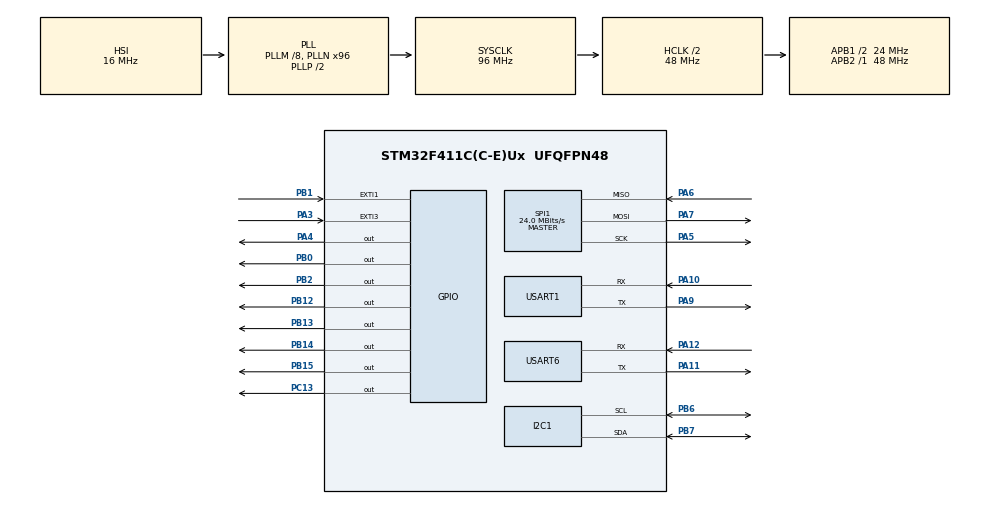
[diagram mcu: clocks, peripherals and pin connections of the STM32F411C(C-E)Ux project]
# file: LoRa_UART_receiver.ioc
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Dma.Request0=USART6_TX
Dma.USART6_TX.0.Direction=DMA_MEMORY_TO_PERIPH
Dma.USART6_TX.0.FIFOMode=DMA_FIFOMODE_DISABLE
Dma.USART6_TX.0.Instance=DMA2_Stream6
Dma.USART6_TX.0.MemDataAlignment=DMA_MDATAALIGN_BYTE
Dma.USART6_TX.0.MemInc=DMA_MINC_ENABLE
Dma.USART6_TX.0.Mode=DMA_NORMAL
Dma.USART6_TX.0.PeriphDataAlignment=DMA_PDATAALIGN_BYTE
Dma.USART6_TX.0.PeriphInc=DMA_PINC_DISABLE
Dma.USART6_TX.0.Priority=DMA_PRIORITY_LOW
IWDG.Prescaler=IWDG_PRESCALER_256
IWDG.Reload=4095
Mcu.Family=STM32F4
Mcu.Name=STM32F411C(C-E)Ux
Mcu.Package=UFQFPN48
NVIC.DMA2_Stream6_IRQn=true\:0\:0\:false\:false\:true\:false\:true\:true
NVIC.EXTI1_IRQn=true\:0\:0\:false\:false\:true\:true\:true\:true
NVIC.EXTI3_IRQn=true\:1\:0\:true\:false\:true\:true\:true\:true
NVIC.PriorityGroup=NVIC_PRIORITYGROUP_4
NVIC.USART6_IRQn=true\:0\:0\:false\:false\:true\:true\:true\:true
PA10.Mode=Asynchronous
PA10.Signal=USART1_RX
PA11.Mode=Asynchronous
PA11.Signal=USART6_TX
PA12.Mode=Asynchronous
PA12.Signal=USART6_RX
PA13.Mode=Serial_Wire
PA13.Signal=SYS_JTMS-SWDIO
PA14.Mode=Serial_Wire
PA14.Signal=SYS_JTCK-SWCLK
PA3.GPIO_PuPd=GPIO_PULLDOWN
PA3.Signal=GPXTI3
PA4.PinState=GPIO_PIN_SET
PA4.Signal=GPIO_Output
PA5.Mode=Full_Duplex_Master
PA5.Signal=SPI1_SCK
PA6.Mode=Full_Duplex_Master
PA6.Signal=SPI1_MISO
PA7.Mode=Full_Duplex_Master
PA7.Signal=SPI1_MOSI
PA9.Mode=Asynchronous
PA9.Signal=USART1_TX
PB0.Signal=GPIO_Output
PB1.GPIO_ModeDefaultEXTI=GPIO_MODE_IT_RISING
PB1.GPIO_PuPd=GPIO_NOPULL
PB1.Signal=GPXTI1
PB12.Signal=GPIO_Output
PB13.Signal=GPIO_Output
PB14.PinState=GPIO_PIN_SET
PB14.Signal=GPIO_Output
PB15.Signal=GPIO_Output
PB2.PinState=GPIO_PIN_SET
PB2.Signal=GPIO_Output
PB6.Mode=I2C
PB6.Signal=I2C1_SCL
PB7.Mode=I2C
PB7.Signal=I2C1_SDA
PC13-ANTI_TAMP.GPIO_PuPd=GPIO_NOPULL
PC13-ANTI_TAMP.Signal=GPIO_Output
PC14-OSC32_IN.Mode=LSE-External-Oscillator
PC14-OSC32_IN.Signal=RCC_OSC32_IN
PC15-OSC32_OUT.Mode=LSE-External-Oscillator
PC15-OSC32_OUT.Signal=RCC_OSC32_OUT
ProjectManager.HeapSize=0x200
ProjectManager.StackSize=0x400
ProjectManager.TargetToolchain=STM32CubeIDE
RCC.48MHZClocksFreq_Value=48000000
RCC.AHBCLKDivider=RCC_SYSCLK_DIV2
RCC.AHBFreq_Value=48000000
RCC.APB1CLKDivider=RCC_HCLK_DIV2
RCC.APB1Freq_Value=24000000
RCC.APB1TimFreq_Value=48000000
RCC.APB2Freq_Value=48000000
RCC.APB2TimFreq_Value=48000000
RCC.CortexFreq_Value=48000000
RCC.HCLKFreq_Value=48000000
RCC.HSE_VALUE=25000000
RCC.HSI_VALUE=16000000
RCC.PLLM=8
RCC.PLLN=96
RCC.RCC_RTC_Clock_Source=RCC_RTCCLKSOURCE_LSE
RCC.RCC_RTC_Clock_SourceVirtual=RCC_RTCCLKSOURCE_LSE
RCC.SYSCLKFreq_VALUE=96000000
RCC.SYSCLKSource=RCC_SYSCLKSOURCE_PLLCLK
RCC.VCOOutputFreq_Value=192000000
SPI1.CalculateBaudRate=24.0 MBits/s
SPI1.Direction=SPI_DIRECTION_2LINES
SPI1.Mode=SPI_MODE_MASTER
SPI1.VirtualType=VM_MASTER
USART1.VirtualMode=VM_ASYNC
USART6.VirtualMode=VM_ASYNC
VP_FATFS_VS_Generic.Mode=User_defined
VP_IWDG_VS_IWDG.Mode=IWDG_Activate
VP_RTC_VS_RTC_Activate.Mode=RTC_Enabled
board=custom

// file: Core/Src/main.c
/* USER CODE BEGIN Header */
/**
  ******************************************************************************
  * @file           : main.c
  * @brief          : Main program body
  ******************************************************************************
  * @attention
  *
  * Copyright (c) 2026 STMicroelectronics.
  * All rights reserved.
  *
  * This software is licensed under terms that can be found in the LICENSE file
  * in the root directory of this software component.
  * If no LICENSE file comes with this software, it is provided AS-IS.
  *
  ******************************************************************************
  */
/* USER CODE END Header */
#include "main.h"
#include "fatfs.h"

/* USER CODE BEGIN Includes */
#include <stdio.h>
#include <string.h>
#include "SX1278.h"
#include "BME280_I2C.h"
#include "esp01s_driver.h"
#include "debug.h"
#include "st7735.h"
#include "fonts.h"
#include "image.h"

#include "sd_logger.h"
#include "structs.h"

/* USER CODE END Includes */

/* USER CODE BEGIN PD */
#define LOG_INTERVAL 10000
#define CYCLE_PERIOD_MS 60000    // Базовий хвилинний інтервал опитування
#define SLOT_OFFSET_MS  2000     // Зсув слоту (по 2 секунди для кожного вузла)

#define DIO0_GPIO_Port GPIOB
#define DIO0_Pin GPIO_PIN_1

#define NSS_GPIO_Port GPIOA
#define NSS_Pin GPIO_PIN_4

#define RESET_GPIO_Port GPIOB
#define RESET_Pin GPIO_PIN_0

#define MAX_NODES 4
/* USER CODE END PD */

/* USER CODE BEGIN PM */
#define DBG_UART &huart1
/* USER CODE END PM */

I2C_HandleTypeDef hi2c1;

IWDG_HandleTypeDef hiwdg;

RTC_HandleTypeDef hrtc;

SPI_HandleTypeDef hspi1;

UART_HandleTypeDef huart1;
UART_HandleTypeDef huart6;
DMA_HandleTypeDef hdma_usart6_tx;

/* USER CODE BEGIN PV */

uint32_t last_button_press = 0;

NodeData node_cache[MAX_NODES];
uint8_t node_valid[MAX_NODES] = {0};
uint8_t node_unsaved[MAX_NODES] = {0};
volatile uint8_t selected_node = 0;
volatile uint8_t node_switch_flag = 0;
int32_t node_clock_offset[MAX_NODES] = {0};

volatile uint32_t lora_rx_timestamp = 0;
uint32_t last_log_time = 0;
/* USER CODE END PV */

void SystemClock_Config(void);
static void MX_GPIO_Init(void);
static void MX_DMA_Init(void);
static void MX_SPI1_Init(void);
static void MX_USART1_UART_Init(void);
static void MX_I2C1_Init(void);
static void MX_USART6_UART_Init(void);
static void MX_IWDG_Init(void);
static void MX_RTC_Init(void);
/* USER CODE BEGIN PFP */
void Led_Blink_Count(uint8_t n, uint8_t delay);
uint8_t crc8(uint8_t *data, uint8_t len);
NodeData read_lora_packet(uint8_t *buf);
void draw_intro(){
	ST7735_FillScreen(ST7735_BLACK);
	ST7735_DrawString(28,90,"Vadym Minder", Font_5x7, ST7735_WHITE, ST7735_BLACK);
	ST7735_DrawString(49,98,"KV-22", Font_5x7, ST7735_WHITE, ST7735_BLACK);
	ST7735_DrawImage(40, 8, 48, 67, icon);
}

void draw_interface(){
	ST7735_DrawRect(0, 16, 128, 112, ST7735_WHITE);
	ST7735_DrawFastHLine(0, 80, 128, ST7735_WHITE);
	//ST7735_DrawFastHLine(0, 104, 128, ST7735_WHITE);
	ST7735_DrawFastVLine(64, 80, 48, ST7735_WHITE);
	ST7735_DrawString(98, 46, "^C", Font_11x18, ST7735_WHITE, ST7735_BLACK);
	ST7735_DrawString(9, 110, "HUMIDITY", Font_5x7, ST7735_WHITE, ST7735_BLACK);
	ST7735_DrawString(88, 110, "hPa", Font_5x7, ST7735_WHITE, ST7735_BLACK);
}

void draw_measurements(const NodeData *d);
/* USER CODE END PFP */

/* USER CODE BEGIN 0 */
float Temperature, Pressure, Humidity;

SX1278_hw_t SX1278_hw;
SX1278_t SX1278;

volatile uint8_t lora_rx_flag = 0;
char buffer[64];
char buffer_BME[64];

/* USER CODE END 0 */

int main(void)
{

  /* MCU Configuration--------------------------------------------------------*/

  /* Reset of all peripherals, Initializes the Flash interface and the Systick. */
  HAL_Init();

  /* Configure the system clock */
  SystemClock_Config();

  /* Initialize all configured peripherals */
  MX_GPIO_Init();
  MX_DMA_Init();
  MX_SPI1_Init();
  MX_USART1_UART_Init();
  MX_I2C1_Init();
  MX_USART6_UART_Init();
  MX_IWDG_Init();
  MX_FATFS_Init();
  MX_RTC_Init();
  /* USER CODE BEGIN 2 */

  HAL_Delay(500);
  debug_log("STM32_CORE","MODULES INIT START");

  char dbg[32];
  snprintf(dbg, sizeof(dbg), "USERPath: '%s' ret:%d\r\n", USERPath, retUSER);
  HAL_UART_Transmit(&huart1, (uint8_t*)dbg, strlen(dbg), 100);
  if (SD_Logger_Init() != SD_LOG_OK) {
          debug_log("STM32_CORE", "SD INIT FAIL");
      }
  ST7735_Init();
  ST7735_Backlight_On();
  ST7735_SetRotation(1);
  draw_intro();

  SX1278_hw.dio0.port  = DIO0_GPIO_Port;
  SX1278_hw.dio0.pin   = DIO0_Pin;

  SX1278_hw.nss.port   = NSS_GPIO_Port;
  SX1278_hw.nss.pin    = NSS_Pin;

  SX1278_hw.reset.port = RESET_GPIO_Port;
  SX1278_hw.reset.pin  = RESET_Pin;

  SX1278_hw.spi        = &hspi1;

  SX1278.hw = &SX1278_hw;

  SX1278_init(&SX1278, 434000000, SX1278_POWER_17DBM, SX1278_LORA_SF_7, SX1278_LORA_BW_125KHZ, SX1278_LORA_CR_4_5, SX1278_LORA_CRC_EN, 10);

  SX1278_LoRaEntryRx(&SX1278, 16, 3000);

  BME280_Config(OSRS_2, OSRS_16, OSRS_1, MODE_NORMAL, T_SB_0p5, IIR_16);

  uint8_t lora_packet[9];
  NodeData hub = {0, Temperature, Humidity, Pressure};
  node_cache[0] = hub;
  node_valid[0] = 1;
  debug_log("STM32_CORE","MODULES INIT END");

  /* USER CODE END 2 */

  /* Infinite loop */
  /* USER CODE BEGIN WHILE */

  uint8_t intro_complete = 0; //[cite: 1]
    while (1)
    {
      HAL_IWDG_Refresh(&hiwdg); //[cite: 1]
      ESP_Process();

      // 1. Блок збору та логування даних
      if ((HAL_GetTick() - last_log_time >= LOG_INTERVAL) || !intro_complete) {
          last_log_time = HAL_GetTick();

          RTC_TimeTypeDef sTime = {0};
          RTC_DateTypeDef sDate = {0};
          HAL_RTC_GetTime(&hrtc, &sTime, RTC_FORMAT_BIN);
          HAL_RTC_GetDate(&hrtc, &sDate, RTC_FORMAT_BIN);

          //debug_log("STM32_CORE","BME280 Measure START");
          BME280_Measure();
          NodeData hub = {0, Temperature, Humidity, Pressure/100.0f};

          node_cache[0] = hub;
          node_valid[0] = 1;     // Для екрану (ніколи не скидаємо)
          node_unsaved[0] = 1;   // Для SD/ESP (скинемо після запису)

          debug_log("STM32_CORE","BME280 Measure END");
          if (!intro_complete) {
			ST7735_FillScreen(ST7735_BLACK);
			draw_interface();
			draw_measurements(&node_cache[selected_node]);
			intro_complete = 1;
		}else if (selected_node == 0) {
            draw_measurements(&node_cache[0]);
        }
      }

      for (uint8_t i = 0; i < MAX_NODES; i++) {
			if (node_unsaved[i]) {
				if (ESP_SendMessage_Node_DMA(&node_cache[i])) {
					SD_Logger_Write(&node_cache[i]);
					SD_Logger_Flush();
					node_unsaved[i] = 0;
				}
				break;
			}
		}

      // 2. Блок обробки вхідних радіопакетів
      if (lora_rx_flag) {
    	  debug_log("STM32 CORE", "LoRa RX START");
          lora_rx_flag = 0;

          uint8_t len = SX1278_available(&SX1278);
          if (len > 0) {
              SX1278_read(&SX1278, (uint8_t*)lora_packet, len);
              NodeData node = read_lora_packet(lora_packet);

              if (node.id > 0 && node.id < MAX_NODES) {
                  node_cache[node.id] = node;
                  node_valid[node.id] = 1;
                  node_unsaved[node.id] = 1;

                  if (selected_node == node.id) {
                      draw_measurements(&node_cache[node.id]);
                  }

                  // --- РОЗРАХУНОК СЛОТУ ---
                  // Фіксуємо час ЗАРАЗ — до будь-яких затримок передачі
                  uint32_t now = lora_rx_timestamp;
                  uint32_t cycle_time = now % CYCLE_PERIOD_MS;
                  uint32_t target_offset = (uint32_t)node.id * SLOT_OFFSET_MS;

                  // Скільки мс до наступного входження вузла у свій слот
                  int32_t time_to_slot = (int32_t)target_offset - (int32_t)cycle_time;
                  if (time_to_slot <= 500) {
                      // Слот вже минув або дуже близько — беремо наступний цикл
                      time_to_slot += (int32_t)CYCLE_PERIOD_MS;
                  }
                  uint32_t sleep_ms = (uint32_t)time_to_slot;

                  // Drift для діагностики (позитивний = вузол прийшов пізніше слоту)
                  int32_t drift_ms = (int32_t)cycle_time - (int32_t)target_offset;
                  if (drift_ms >  (int32_t)(CYCLE_PERIOD_MS / 2)) drift_ms -= CYCLE_PERIOD_MS;
                  if (drift_ms < -(int32_t)(CYCLE_PERIOD_MS / 2)) drift_ms += CYCLE_PERIOD_MS;

                  if (drift_ms > -2000 && drift_ms < 2000) {
					node_clock_offset[node.id] += drift_ms / 2;

					if (node_clock_offset[node.id] > 5000)  node_clock_offset[node.id] = 5000;
					if (node_clock_offset[node.id] < -5000) node_clock_offset[node.id] = -5000;
				} else {
					node_clock_offset[node.id] = 0;
				}

				// Пряме коригування з перевіркою на underflow (щоб не піти в мінус)
				if ((int32_t)sleep_ms - node_clock_offset[node.id] < 100) {
					sleep_ms = 100;
				} else {
					sleep_ms -= node_clock_offset[node.id];
				}

                  char drift_log[48];
                  snprintf(drift_log, sizeof(drift_log),
                           "Node %d drift: %ld ms  sleep: %lu ms", node.id, drift_ms, sleep_ms);
                  debug_log("STM32_CORE", drift_log);

                  // --- ACK ---
                  uint8_t ack_packet[6];
                  ack_packet[0] = node.id;
                  ack_packet[1] = (sleep_ms >> 24) & 0xFF;
                  ack_packet[2] = (sleep_ms >> 16) & 0xFF;
                  ack_packet[3] = (sleep_ms >>  8) & 0xFF;
                  ack_packet[4] =  sleep_ms        & 0xFF;
                  ack_packet[5] = crc8(ack_packet, 5);

                  SX1278_standby(&SX1278);
                  HAL_Delay(20);
                  SX1278_LoRaEntryTx(&SX1278, 16, 3000);
                  SX1278_transmit(&SX1278, ack_packet, 6, 1000);
                  debug_log("STM32_CORE", "ACK Sent to Node");
              }
          }

          lora_rx_flag = 0;

          SX1278_LoRaEntryRx(&SX1278, 16, 3000);
          debug_log("STM32 CORE", "LoRa RX END");
      }

      // 3. Інтерфейс

      // Перемикання кнопкою (працюватиме, бо node_valid не скидається)
	if (intro_complete && node_switch_flag) {
		node_switch_flag = 0;
		if (node_valid[selected_node]) {
			draw_measurements(&node_cache[selected_node]);
		}
	}

    /* USER CODE END WHILE */

  }
}

void SystemClock_Config(void)
{
  RCC_OscInitTypeDef RCC_OscInitStruct = {0};
  RCC_ClkInitTypeDef RCC_ClkInitStruct = {0};

  /** Configure the main internal regulator output voltage
  */
  __HAL_RCC_PWR_CLK_ENABLE();
  __HAL_PWR_VOLTAGESCALING_CONFIG(PWR_REGULATOR_VOLTAGE_SCALE1);

  /** Initializes the RCC Oscillators according to the specified parameters
  * in the RCC_OscInitTypeDef structure.
  */
  RCC_OscInitStruct.OscillatorType = RCC_OSCILLATORTYPE_HSI|RCC_OSCILLATORTYPE_LSI
                              |RCC_OSCILLATORTYPE_LSE;
  RCC_OscInitStruct.LSEState = RCC_LSE_ON;
  RCC_OscInitStruct.HSIState = RCC_HSI_ON;
  RCC_OscInitStruct.HSICalibrationValue = RCC_HSICALIBRATION_DEFAULT;
  RCC_OscInitStruct.LSIState = RCC_LSI_ON;
  RCC_OscInitStruct.PLL.PLLState = RCC_PLL_ON;
  RCC_OscInitStruct.PLL.PLLSource = RCC_PLLSOURCE_HSI;
  RCC_OscInitStruct.PLL.PLLM = 8;
  RCC_OscInitStruct.PLL.PLLN = 96;
  RCC_OscInitStruct.PLL.PLLP = RCC_PLLP_DIV2;
  RCC_OscInitStruct.PLL.PLLQ = 4;
  if (HAL_RCC_OscConfig(&RCC_OscInitStruct) != HAL_OK)
  {
    Error_Handler();
  }

  /** Initializes the CPU, AHB and APB buses clocks
  */
  RCC_ClkInitStruct.ClockType = RCC_CLOCKTYPE_HCLK|RCC_CLOCKTYPE_SYSCLK
                              |RCC_CLOCKTYPE_PCLK1|RCC_CLOCKTYPE_PCLK2;
  RCC_ClkInitStruct.SYSCLKSource = RCC_SYSCLKSOURCE_PLLCLK;
  RCC_ClkInitStruct.AHBCLKDivider = RCC_SYSCLK_DIV2;
  RCC_ClkInitStruct.APB1CLKDivider = RCC_HCLK_DIV2;
  RCC_ClkInitStruct.APB2CLKDivider = RCC_HCLK_DIV1;

  if (HAL_RCC_ClockConfig(&RCC_ClkInitStruct, FLASH_LATENCY_1) != HAL_OK)
  {
    Error_Handler();
  }
}

static void MX_I2C1_Init(void)
{

  hi2c1.Instance = I2C1;
  hi2c1.Init.ClockSpeed = 100000;
  hi2c1.Init.DutyCycle = I2C_DUTYCYCLE_2;
  hi2c1.Init.OwnAddress1 = 0;
  hi2c1.Init.AddressingMode = I2C_ADDRESSINGMODE_7BIT;
  hi2c1.Init.DualAddressMode = I2C_DUALADDRESS_DISABLE;
  hi2c1.Init.OwnAddress2 = 0;
  hi2c1.Init.GeneralCallMode = I2C_GENERALCALL_DISABLE;
  hi2c1.Init.NoStretchMode = I2C_NOSTRETCH_DISABLE;
  if (HAL_I2C_Init(&hi2c1) != HAL_OK)
  {
    Error_Handler();
  }

}

static void MX_IWDG_Init(void)
{

  hiwdg.Instance = IWDG;
  hiwdg.Init.Prescaler = IWDG_PRESCALER_256;
  hiwdg.Init.Reload = 4095;
  if (HAL_IWDG_Init(&hiwdg) != HAL_OK)
  {
    Error_Handler();
  }

}

static void MX_RTC_Init(void)
{

  /** Initialize RTC Only
  */
  hrtc.Instance = RTC;
  hrtc.Init.HourFormat = RTC_HOURFORMAT_24;
  hrtc.Init.AsynchPrediv = 127;
  hrtc.Init.SynchPrediv = 255;
  hrtc.Init.OutPut = RTC_OUTPUT_DISABLE;
  hrtc.Init.OutPutPolarity = RTC_OUTPUT_POLARITY_HIGH;
  hrtc.Init.OutPutType = RTC_OUTPUT_TYPE_OPENDRAIN;
  if (HAL_RTC_Init(&hrtc) != HAL_OK)
  {
    Error_Handler();
  }

}

static void MX_SPI1_Init(void)
{

  /* SPI1 parameter configuration*/
  hspi1.Instance = SPI1;
  hspi1.Init.Mode = SPI_MODE_MASTER;
  hspi1.Init.Direction = SPI_DIRECTION_2LINES;
  hspi1.Init.DataSize = SPI_DATASIZE_8BIT;
  hspi1.Init.CLKPolarity = SPI_POLARITY_LOW;
  hspi1.Init.CLKPhase = SPI_PHASE_1EDGE;
  hspi1.Init.NSS = SPI_NSS_SOFT;
  hspi1.Init.BaudRatePrescaler = SPI_BAUDRATEPRESCALER_2;
  hspi1.Init.FirstBit = SPI_FIRSTBIT_MSB;
  hspi1.Init.TIMode = SPI_TIMODE_DISABLE;
  hspi1.Init.CRCCalculation = SPI_CRCCALCULATION_DISABLE;
  hspi1.Init.CRCPolynomial = 10;
  if (HAL_SPI_Init(&hspi1) != HAL_OK)
  {
    Error_Handler();
  }

}

static void MX_USART1_UART_Init(void)
{

  huart1.Instance = USART1;
  huart1.Init.BaudRate = 115200;
  huart1.Init.WordLength = UART_WORDLENGTH_8B;
  huart1.Init.StopBits = UART_STOPBITS_1;
  huart1.Init.Parity = UART_PARITY_NONE;
  huart1.Init.Mode = UART_MODE_TX_RX;
  huart1.Init.HwFlowCtl = UART_HWCONTROL_NONE;
  huart1.Init.OverSampling = UART_OVERSAMPLING_16;
  if (HAL_UART_Init(&huart1) != HAL_OK)
  {
    Error_Handler();
  }

}

static void MX_USART6_UART_Init(void)
{

  huart6.Instance = USART6;
  huart6.Init.BaudRate = 115200;
  huart6.Init.WordLength = UART_WORDLENGTH_8B;
  huart6.Init.StopBits = UART_STOPBITS_1;
  huart6.Init.Parity = UART_PARITY_NONE;
  huart6.Init.Mode = UART_MODE_TX_RX;
  huart6.Init.HwFlowCtl = UART_HWCONTROL_NONE;
  huart6.Init.OverSampling = UART_OVERSAMPLING_16;
  if (HAL_UART_Init(&huart6) != HAL_OK)
  {
    Error_Handler();
  }

}

static void MX_DMA_Init(void)
{

  /* DMA controller clock enable */
  __HAL_RCC_DMA2_CLK_ENABLE();

  /* DMA interrupt init */
  /* DMA2_Stream6_IRQn interrupt configuration */
  HAL_NVIC_SetPriority(DMA2_Stream6_IRQn, 0, 0);
  HAL_NVIC_EnableIRQ(DMA2_Stream6_IRQn);

}

static void MX_GPIO_Init(void)
{
  GPIO_InitTypeDef GPIO_InitStruct = {0};

  /* GPIO Ports Clock Enable */
  __HAL_RCC_GPIOC_CLK_ENABLE();
  __HAL_RCC_GPIOA_CLK_ENABLE();
  __HAL_RCC_GPIOB_CLK_ENABLE();

  /*Configure GPIO pin Output Level */
  HAL_GPIO_WritePin(GPIOC, GPIO_PIN_13, GPIO_PIN_RESET);

  /*Configure GPIO pin Output Level */
  HAL_GPIO_WritePin(GPIOA, GPIO_PIN_4, GPIO_PIN_SET);

  /*Configure GPIO pin Output Level */
  HAL_GPIO_WritePin(GPIOB, GPIO_PIN_0|GPIO_PIN_12|GPIO_PIN_13|GPIO_PIN_15, GPIO_PIN_RESET);

  /*Configure GPIO pin Output Level */
  HAL_GPIO_WritePin(GPIOB, GPIO_PIN_2|GPIO_PIN_14, GPIO_PIN_SET);

  /*Configure GPIO pin : PC13 */
  GPIO_InitStruct.Pin = GPIO_PIN_13;
  GPIO_InitStruct.Mode = GPIO_MODE_OUTPUT_PP;
  GPIO_InitStruct.Pull = GPIO_NOPULL;
  GPIO_InitStruct.Speed = GPIO_SPEED_FREQ_LOW;
  HAL_GPIO_Init(GPIOC, &GPIO_InitStruct);

  /*Configure GPIO pin : PA3 */
  GPIO_InitStruct.Pin = GPIO_PIN_3;
  GPIO_InitStruct.Mode = GPIO_MODE_IT_RISING;
  GPIO_InitStruct.Pull = GPIO_PULLDOWN;
  HAL_GPIO_Init(GPIOA, &GPIO_InitStruct);

  /*Configure GPIO pin : PA4 */
  GPIO_InitStruct.Pin = GPIO_PIN_4;
  GPIO_InitStruct.Mode = GPIO_MODE_OUTPUT_PP;
  GPIO_InitStruct.Pull = GPIO_NOPULL;
  GPIO_InitStruct.Speed = GPIO_SPEED_FREQ_LOW;
  HAL_GPIO_Init(GPIOA, &GPIO_InitStruct);

  /*Configure GPIO pins : PB0 PB2 PB12 PB13
                           PB14 PB15 */
  GPIO_InitStruct.Pin = GPIO_PIN_0|GPIO_PIN_2|GPIO_PIN_12|GPIO_PIN_13
                          |GPIO_PIN_14|GPIO_PIN_15;
  GPIO_InitStruct.Mode = GPIO_MODE_OUTPUT_PP;
  GPIO_InitStruct.Pull = GPIO_NOPULL;
  GPIO_InitStruct.Speed = GPIO_SPEED_FREQ_LOW;
  HAL_GPIO_Init(GPIOB, &GPIO_InitStruct);

  /*Configure GPIO pin : PB1 */
  GPIO_InitStruct.Pin = GPIO_PIN_1;
  GPIO_InitStruct.Mode = GPIO_MODE_IT_RISING;
  GPIO_InitStruct.Pull = GPIO_NOPULL;
  HAL_GPIO_Init(GPIOB, &GPIO_InitStruct);

  /* EXTI interrupt init*/
  HAL_NVIC_SetPriority(EXTI1_IRQn, 0, 0);
  HAL_NVIC_EnableIRQ(EXTI1_IRQn);

  HAL_NVIC_SetPriority(EXTI3_IRQn, 1, 0);
  HAL_NVIC_EnableIRQ(EXTI3_IRQn);

}

/* USER CODE BEGIN 4 */

void HAL_GPIO_EXTI_Callback(uint16_t GPIO_Pin)
{
    if (GPIO_Pin == DIO0_Pin) {
    	lora_rx_timestamp = HAL_GetTick();
        lora_rx_flag = 1;

    }

    if (GPIO_Pin == GPIO_PIN_3) {
		// Програмний антидребезг: ігноруємо натискання частіше ніж раз на 250 мс
		if ((HAL_GetTick() - last_button_press) > 250) {
			last_button_press = HAL_GetTick();
    	debug_log("STM32_CORE", "BTN CLICK");
            // шукаємо наступну валідну ноду по колу
            for (uint8_t i = 1; i <= MAX_NODES; i++) {
                uint8_t next = (selected_node + i) % MAX_NODES;
                if (node_valid[next]) {
                    selected_node = next;
                    node_switch_flag = 1;
                    break;
                }
            }
        }
    }
}

void Led_Blink_Count(uint8_t n, uint8_t delay){
	for(uint8_t i =0;i<n;i++){
		HAL_GPIO_WritePin(GPIOC, GPIO_PIN_13, GPIO_PIN_RESET);
		HAL_Delay(delay);
		HAL_GPIO_WritePin(GPIOC, GPIO_PIN_13, GPIO_PIN_SET);
		HAL_Delay(delay);

	}
}

uint8_t crc8(uint8_t *data, uint8_t len) {
    uint8_t crc = 0x00;
    for (uint8_t i = 0; i < len; i++) {
        crc ^= data[i];
        for (uint8_t j = 0; j < 8; j++) {
            if (crc & 0x80)
                crc = (crc << 1) ^ 0x31;
            else
                crc <<= 1;
        }
    }
    return crc;
}

NodeData read_lora_packet(uint8_t *buf)
{
	NodeData d = {0};

    // CRC CHECK
    if (crc8(buf, 8) != buf[8])
    {
    	debug_log("STM32_CORE", "CRC ERROR");
    	return d;
    }

    // PARSE PACKET

    // 0 byte - ID
    d.id = buf[0];

    // 1-2 byte - temperature
    int16_t temp = (int16_t)((buf[1] << 8) | buf[2]);
    d.temp = temp / 100.0f;

    // 3-4 byte - humidity
    uint16_t hum = (uint16_t)((buf[3] << 8) | buf[4]);
    d.humidity = hum / 100.0f;

    // 5-6 byte - Pressure
    uint16_t press = (uint16_t)((buf[5] << 8) | buf[6]);
    d.pressure = press;

	// 7 byte - Flags
    d.flags = buf[7];

    debug_log("STM32_CORE", "LoRa read success");
    return d;
}

void draw_measurements(const NodeData *d){

	char str[12];

	static int prevId = -999;

	char nodeName[12];

	if(d->id != prevId){

		prevId = d->id;

		if(d->id == 0){
			snprintf(nodeName, sizeof(nodeName), "%-10s", "HUB");
		}else if(d->id > 0){
			snprintf(nodeName, sizeof(nodeName), "NODE %-5d", d->id);
		}else{
			snprintf(nodeName, sizeof(nodeName), "%-10s", "UNKNOWN");
		}

		ST7735_DrawString(4, 20, nodeName,
		                  Font_11x18,
		                  ST7735_WHITE,
		                  ST7735_BLACK);
	}

	int16_t temp10 = (int16_t)(d->temp * 10 + 0.5f);
	static int prevTemp10 = -999;

	if(temp10 != prevTemp10){
		prevTemp10 = temp10;

		char sign = '+';
		int16_t value = temp10;

		if (temp10 < 0)
		{
		    sign = '-';
		    value = -temp10;
		}

		sprintf(str, "%c%d.%d", sign, value / 10, value % 10);
		ST7735_DrawString(14, 46, str, Font_16x26, ST7735_WHITE, ST7735_BLACK);
	}

	uint8_t humInt = (uint8_t)(d->humidity + 0.5f);
	static int16_t prevHumInt = -999;

	if(humInt != prevHumInt){
		prevHumInt = humInt;

		sprintf(str, "%-3u%%", humInt);
		ST7735_DrawString(9, 90, str, Font_11x18, ST7735_WHITE, ST7735_BLACK);
	}

	uint16_t pressureHpa = (uint16_t)(d->pressure + 0.5f);
	static uint16_t prevPressureHpa = 0;

	if(pressureHpa != prevPressureHpa){
		prevPressureHpa = pressureHpa;

		sprintf(str, "%u", pressureHpa);
		ST7735_DrawString(80, 90, str, Font_11x18, ST7735_WHITE, ST7735_BLACK);
	}

}

/* USER CODE END 4 */

void Error_Handler(void)
{
  __disable_irq();
  while (1)
  {
  }
}
